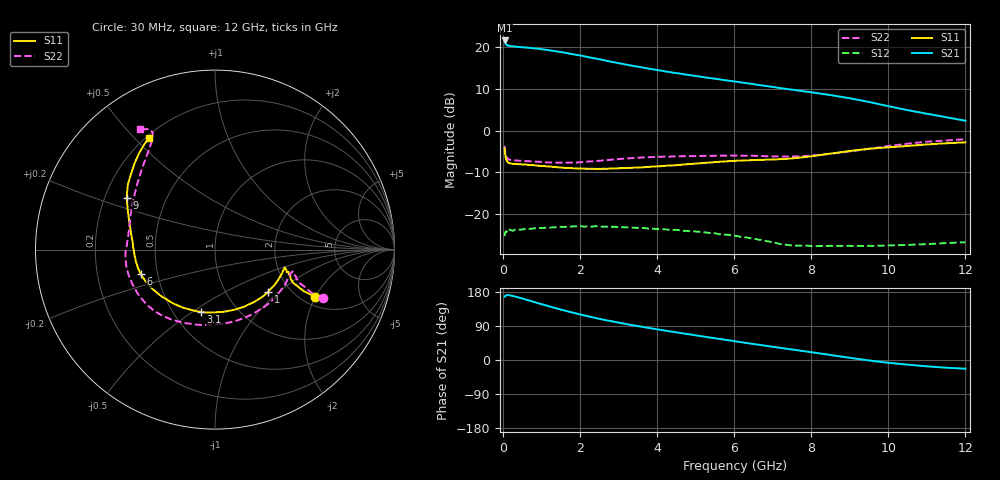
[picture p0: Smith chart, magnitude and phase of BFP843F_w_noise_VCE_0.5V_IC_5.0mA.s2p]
! Infineon Technologies  Discrete & RF Semiconductors
! BFP843F
! VCE =  0.5 V,  IC =  5.0 mA
! Common Emitter S-Parameters:  Aug 2013
# GHz  S  MA  R  50
!  f  S11  S21  S12  S22
! GHz  MAG  ANG  MAG  ANG  MAG  ANG  MAG  ANG
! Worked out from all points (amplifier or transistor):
!   103 points, 30 MHz to 12 GHz, reference 50 ohm
!   highest |S21| = 21.6 dB at 30 MHz (marker M1)
!   |S21| within 3 dB of that: start of sweep to 1.636 GHz
!   unconditionally stable (mu >= 1): 208 MHz to 298.7 MHz; 302.3 MHz to 370.2 MHz; 4.454 GHz to end of sweep
!   at 400 MHz: K = 1.00, MSG = 21.8 dB, |S12| = -23.6 dB
!   at 3.7 GHz: K = 0.93, MSG = 19.2 dB, |S12| = -23.4 dB
!   at 12 GHz: K = 1.68, MAG = 9.7 dB, |S12| = -26.7 dB
!   lowest NFmin = 0.82 dB at 450 MHz
!   S11 on the Smith chart (normalised r, x): 30 MHz: 2.34, -1.96; 1 GHz: 1.55, -0.85; 3.1 GHz: 0.68, -0.54; 6 GHz: 0.40, -0.14; 9 GHz: 0.29, +0.25; 12 GHz: 0.21, +0.55
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0.03  0.6137 -25.2  12.01 167.2  0.0545 34.7  0.6575 -24.3
0.04  0.545 -25.1  11.46 167.6  0.0591 25.4  0.5868 -24.1
0.05  0.5059 -24.0  11.07 169.7  0.0608 23.1  0.5396 -22.5
0.07  0.4512 -21.0  10.74 170.6  0.0618 18.8  0.5012 -20.6
0.1  0.427 -16.8  10.46 171.0  0.0623 13.1  0.4612 -17.5
0.15  0.4085 -15.3  10.38 171.0  0.0655 8.8  0.4504 -15.8
0.6  0.3915 -24.6  9.877 158.9  0.0666 3.1  0.432 -30.8
1  0.3777 -38.6  9.432 147.0  0.0683 1.4  0.4214 -49.0
1.3  0.3679 -48.8  9 138.3  0.0695 0.1  0.4146 -62.8
1.6  0.3579 -59.4  8.575 130.2  0.0704 -1.5  0.4141 -75.9
2.1  0.35 -75.5  7.762 117.5  0.071 -4.4  0.4208 -95.9
2.5  0.3486 -87.4  7.129 108.4  0.0706 -6.8  0.4355 -108.9
3.1  0.3557 -102.7  6.302 96.5  0.0698 -10.5  0.4613 -123.3
4.1  0.3758 -125.5  5.226 79.2  0.0663 -15.0  0.4862 -140.8
5  0.4033 -143.7  4.511 65.0  0.0621 -19.1  0.4962 -154.3
6  0.4344 -161.5  3.886 49.8  0.0553 -21.9  0.5026 -168.8
6.1  0.4375 -163.0  3.819 48.2  0.0544 -22.7  0.5027 -170.4
7  0.4515 -178.4  3.335 34.8  0.0458 -21.7  0.4912 176.4
8.5  0.5312 156.1  2.664 13.1  0.0418 -9.1  0.5283 150.2
9  0.5707 149.6  2.438 5.8  0.0417 -5.7  0.5644 140.4
10.5  0.6559 133.2  1.758 -12.3  0.0429 3.1  0.6978 120.3
12  0.7241 120.6  1.314 -23.0  0.0461 12.6  0.7896 121.8
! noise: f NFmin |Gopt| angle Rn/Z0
0.45  0.82  0.16  11  0.06
0.9  0.84  0.16  21  0.06
1.5  0.9  0.16  29  0.07
1.9  0.95  0.15  45  0.07
2.4  0.99  0.15  57  0.08
3.5  1.06  0.17  86  0.13
5.5  1.18  0.17  152  0.19
10  1.9  0.38  -124  0.23
